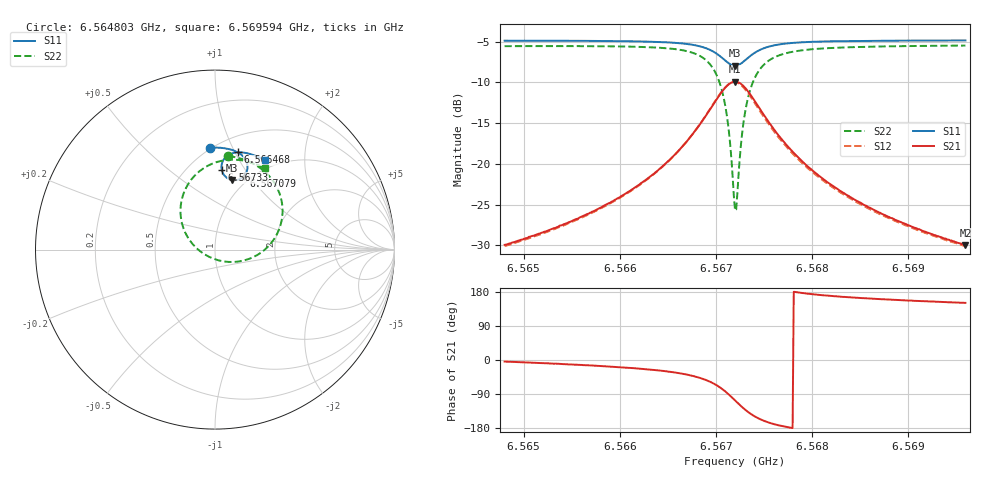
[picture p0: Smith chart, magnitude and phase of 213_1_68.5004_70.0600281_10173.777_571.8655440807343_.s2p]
#  HZ  S  RI  R  50.00
! Rohde & Schwarz Vector Network Analyzer
! Rohde-Schwarz,ZNB20-2Port,1311601062101988,3.16
! Created: UTC 3/20/2024, 5:13:13 PM
! freq[Hz]  re:S11  im:S11  re:S21  im:S21  re:S12  im:S12  re:S22  im:S22
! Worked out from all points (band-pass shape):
!   401 points, 6.564803 GHz to 6.569594 GHz, reference 50 ohm
!   highest |S21| = -9.93 dB at 6.567199 GHz (marker M1); lowest = -30.0 dB at 6.569594 GHz (marker M2)
!   |S21| within 3 dB of the highest: 6.566961 GHz to 6.567439 GHz (478.2 kHz wide, 0.00728 % of centre)
!   lowest |S11| = -8.0 dB at 6.567199 GHz (marker M3), VSWR 2.33, Z = 43.1 + j39.8 ohm
!   |S11| at or under -10 dB: nowhere
!   |S22| runs from -25.7 to -5.5 dB; largest |S21 - S12| = 0.016
!   S11 on the Smith chart (normalised r, x): 6.564803 GHz: 0.49, +0.82; 6.566468 GHz: 0.65, +1.03; 6.567079 GHz: 0.93, +0.94; 6.56733 GHz: 0.71, +0.79; 6.569594 GHz: 0.88, +1.30
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6.5648026e9  -0.0281 0.5684  0.0318 -0.00234  0.0311 -0.00279  0.074 0.5215
6.5656052e9  0.0395 0.5663  0.0462 -0.0107  0.0454 -0.0114  0.1555 0.5031
6.5660844e9  0.0844 0.5582  0.0628 -0.0234  0.0618 -0.0241  0.2186 0.4758
6.5664078e9  0.1191 0.5458  0.0819 -0.0427  0.0807 -0.0438  0.2758 0.4357
6.5664677e9  0.1262 0.5423  0.0865 -0.0486  0.0853 -0.0497  0.2883 0.424
6.5667073e9  0.1568 0.5193  0.1084 -0.0877  0.1068 -0.0897  0.3448 0.3473
6.566887e9  0.1782 0.4823  0.1198 -0.1525  0.1166 -0.156  0.3764 0.2223
6.5669949e9  0.1793 0.4443  0.1036 -0.2192  0.0975 -0.2237  0.3497 0.0955
6.5670787e9  0.1604 0.409  0.0539 -0.2796  0.0431 -0.2829  0.2568 -0.0164
6.5671266e9  0.1378 0.3929  0.00363 -0.305  -0.00968 -0.3055  0.1633 -0.06
6.5671865e9  0.0999 0.3871  -0.0747 -0.3095  -0.0893 -0.3039  0.0206 -0.0601
6.5671985e9  0.0921 0.3884  -0.0906 -0.3057  -0.105 -0.2988  -0.00743 -0.0513
6.5672225e9  0.077 0.3936  -0.1211 -0.2935  -0.1341 -0.2841  -0.0598 -0.0253
6.5672704e9  0.0528 0.4125  -0.1701 -0.2542  -0.1792 -0.2412  -0.1405 0.0513
6.5673303e9  0.0376 0.4433  -0.2028 -0.1929  -0.2064 -0.1794  -0.1877 0.1632
6.5674261e9  0.0409 0.4868  -0.2045 -0.109  -0.2026 -0.0987  -0.1762 0.3095
6.5675699e9  0.0683 0.5225  -0.1686 -0.0397  -0.1649 -0.034  -0.0988 0.4258
6.5677376e9  0.1004 0.538  -0.1295 -0.00707  -0.1263 -0.00395  -0.0176 0.4778
6.5680011e9  0.1394 0.5422  -0.0907 0.0101  -0.0885 0.0115  0.0682 0.4997
6.5683366e9  0.1771 0.5374  -0.0639 0.0154  -0.0623 0.0161  0.1373 0.4988
6.5688038e9  0.2196 0.5248  -0.0441 0.0166  -0.043 0.017  0.2014 0.4853
6.5695944e9  0.2804 0.4972  -0.0277 0.0155  -0.0271 0.0157  0.2772 0.4532
